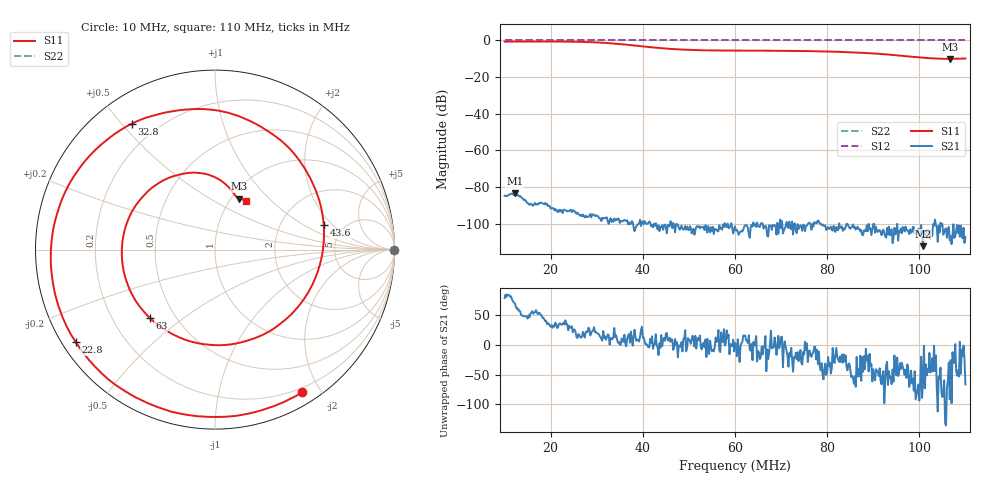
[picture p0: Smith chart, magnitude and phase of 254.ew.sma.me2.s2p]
! Anritsu VNA Master:  Model: MS2036C/10/77
! SN:  1601066
! /card0/usr/254.ew.sma.me2.s2p
! Existing Calibration Information:
! TYPE:  Current Settings,  Active Cal Settings
! TIME:  12/20/2017 12:58:32 PM,  12/20/2017 12:55:07 PM
! INTERNAL TEMP:  44.3 C,  44.3 C
! # POINTS:  501,  501
! START FREQ:  10.000 MHz,  10.000 MHz
! STOP FREQ:  110.000 MHz,  110.000 MHz
! SOURCE POWER:  High,  High
! IFBW:  100 Hz,  100 Hz
! AVG FACTOR:  1 ,  1
! REF PLANE 1:  0 mm,  0 mm
! REF PLANE 2:  0 mm,  0 mm
! CAL TYPE:  Full S11,  Full S11
! CAL METHOD:  SOLT,  SOLT
! CAL LINE TYPE:  Coax,  Coax
! DUT PORT 1:  N-Conn(F),  N-Conn(F)
! DUT PORT 2:  K-Conn(F),  K-Conn(F)
! CAL STATUS:  OK: Accuracy High,  --
# GHZ S DB R 50.0
! FREQ.GHZ  S11DB  S11A  S21DB  S21A  S12DB  S12A  S22DB  S22A
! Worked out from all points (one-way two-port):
!   501 points, 10 MHz to 110 MHz, reference 50 ohm
!   highest |S21| = -83.53 dB at 12.2 MHz (marker M1); lowest = -112.4 dB at 100.8 MHz (marker M2)
!   lowest |S11| = -10.0 dB at 106.6 MHz (marker M3), VSWR 1.92, Z = 54.2 + j34.3 ohm
!   |S11| at or under -10 dB: 105 MHz to 107.8 MHz (2.74 MHz wide, 2.58 % of centre)
!   |S22| runs from 0.0 to 0.0 dB; largest |S21 - S12| = 1
!   S11 on the Smith chart (normalised r, x): 10 MHz: 0.15, -1.78; 22.8 MHz: 0.04, -0.30; 32.8 MHz: 0.11, +0.53; 43.6 MHz: 3.54, +1.56; 63 MHz: 0.36, -0.38; 110 MHz: 1.18, +0.72
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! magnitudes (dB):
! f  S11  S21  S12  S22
! 10 MHz  -0.6  -84.8  0.0  0.0
! 12.2 MHz  -0.6  -83.5  0.0  0.0
! 22.8 MHz  -0.6  -92.4  0.0  0.0
! 26.8 MHz  -0.8  -96.0  0.0  0.0
! 29.6 MHz  -1.0  -95.8  0.0  0.0
! 32.8 MHz  -1.5  -98.1  0.0  0.0
! 36.4 MHz  -2.3  -98.6  0.0  0.0
! 43.4 MHz  -4.1  -101.0  0.0  0.0
! 43.6 MHz  -4.1  -104.1  0.0  0.0
! 46.6 MHz  -4.7  -99.7  0.0  0.0
! 50.2 MHz  -5.2  -101.5  0.0  0.0
! 53.6 MHz  -5.4  -100.9  0.0  0.0
! 60 MHz  -5.6  -101.5  0.0  0.0
! 63 MHz  -5.6  -105.8  0.0  0.0
! 76.8 MHz  -5.9  -100.1  0.0  0.0
! 85 MHz  -6.4  -102.9  0.0  0.0
! 89.4 MHz  -7.0  -102.7  0.0  0.0
! 93.4 MHz  -7.7  -101.8  0.0  0.0
! 100.8 MHz  -9.4  -112.4  0.0  0.0
! 104 MHz  -9.9  -110.0  0.0  0.0
! 106.6 MHz  -10.0  -109.2  0.0  0.0
! 110 MHz  -9.8  -107.4  0.0  0.0
